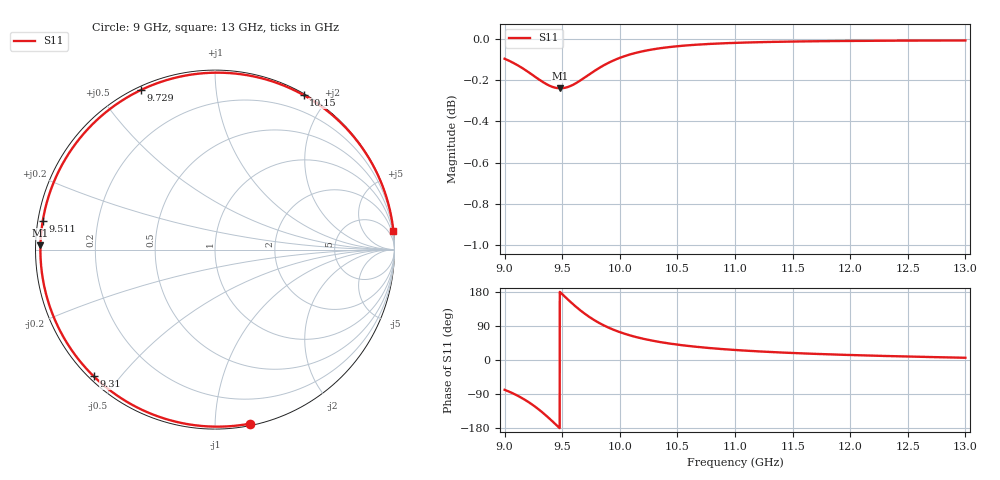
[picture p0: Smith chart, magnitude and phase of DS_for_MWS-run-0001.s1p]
! TOUCHSTONE file generated by CST DESIGN STUDIO
! Date and time: Tue Feb  4 14:14:28 2025
! Project name: C:\Work\MatlabApps\UnitCellOptimizationMatlab\CST\unitcell.cst
! Tree item: Tasks\Sweep1\SPara1\S-Parameters
! Header version: 2024
! Port assignment regex: !\s*Touchstone port\s*([0-9]+)\s*=\s*(CST MWS port|CST DES external port|CST DES block port)\s*(.+)\s* \(\"(.*)\"\)(\s*mode\s*([0-9]+))?.*
! Touchstone port assignment:
! Touchstone port 1 = CST DES external port 1 ("")
# GHz S MA R 50
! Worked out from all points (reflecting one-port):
!   4001 points, 9 GHz to 13 GHz, reference 50 ohm
!   lowest |S11| = -0.2 dB at 9.483 GHz (marker M1), VSWR 72.62, Z = 0.689 + j0.608 ohm
!   phase of S11 starts at -79 deg and turns -275 deg over the sweep
!   S11 on the Smith chart (normalised r, x): 9 GHz: 0.01, -1.22; 9.31 GHz: 0.01, -0.43; 9.511 GHz: 0.01, +0.08; 9.729 GHz: 0.01, +0.64; 10.15 GHz: 0.02, +1.72; 13 GHz: 0, +19
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9  0.989 -78.6
9.078  0.9867 -88.9
9.176  0.983 -104.9
9.245  0.98 -118.8
9.31  0.9772 -133.8
9.356  0.9753 -145.6
9.404  0.9739 -158.7
9.444  0.9731 -170.1
9.483  0.9728 178.6
9.5  0.9729 173.7
9.511  0.973 170.5
9.564  0.9739 155.4
9.624  0.9758 139.4
9.676  0.9779 126.7
9.729  0.9802 115.0
9.784  0.9825 104.2
9.844  0.9848 94.0
9.921  0.9874 82.9
10  0.9895 73.5
10.146  0.9924 60.2
10.306  0.9945 49.7
10.5  0.996 40.6
10.722  0.9971 33.1
11  0.9979 26.4
11.5  0.9986 18.5
12  0.999 13.2
12.5  0.9991 9.2
13  0.9992 5.9
